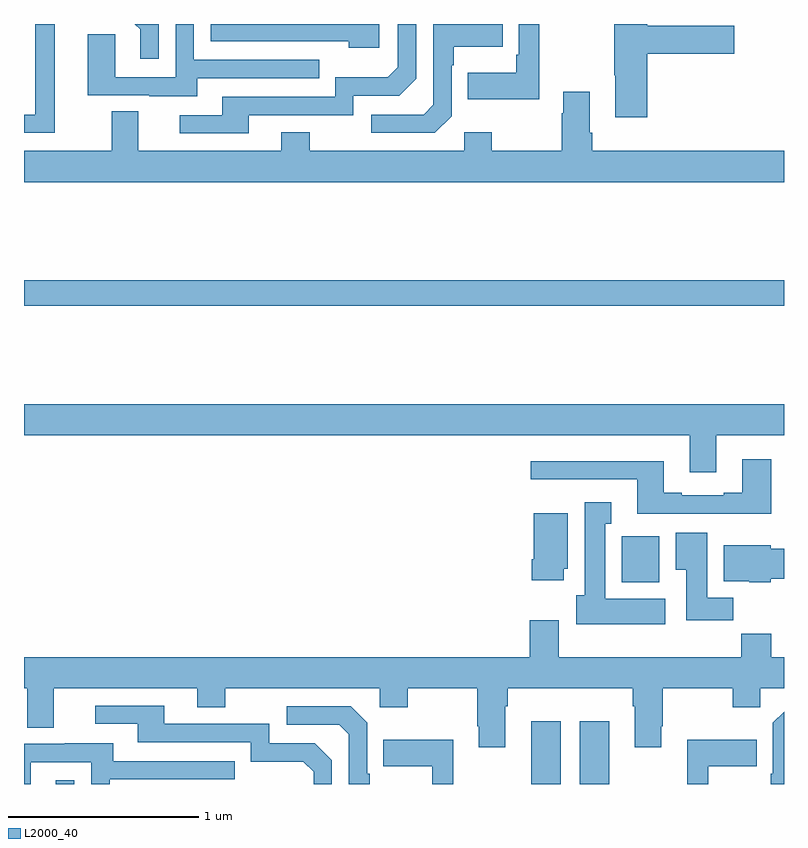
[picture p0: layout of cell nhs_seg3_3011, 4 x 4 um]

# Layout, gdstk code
import gdstk
lib = gdstk.Library(unit=1e-6, precision=1e-09)
def R(c, l, rs):  # rectangles x0, y0, x1, y1
    for r in rs: c.add(gdstk.rectangle(r[:2], r[2:], *l))
def P(c, l, *ps):  # polygons
    for p in ps: c.add(gdstk.Polygon(p, *l))
L2000_40 = (2000, 40)

nhs_seg3_3011 = lib.new_cell('nhs_seg3_3011')
R(nhs_seg3_3011, L2000_40, [(267.167,712.4,267.264,712.42), (269.669,712.4,269.824,712.729), (269.924,712.4,270.079,712.729), (270.146,713.462,270.343,713.704), (267,714.916,271,715.052)])
P(nhs_seg3_3011, L2000_40, [(267.708,716.4),(267.584,716.4),(267.611,716.373),(267.611,716.217),(267.708,716.217)],
  [(268.87,716.4),(267.984,716.4),(267.984,716.31),(268.709,716.31),(268.709,716.276),(268.87,716.276)],
  [(267.163,716.4),(267.059,716.4),(267.059,715.923),(267,715.923),(267,715.827),(267.163,715.827)],
  [(267.913,716.115),(268.553,716.115),(268.553,716.211),(267.894,716.211),(267.894,716.4),(267.798,716.4),(267.798,716.121),(267.48,716.121),(267.48,716.345),(267.335,716.345),(267.335,716.025),(267.659,716.025),(267.659,716.021),(267.913,716.021)],
  [(270.281,716.243),(270.739,716.243),(270.739,716.39),(270.281,716.39),(270.281,716.4),(270.106,716.4),(270.106,716.131),(270.113,716.131),(270.113,715.908),(270.281,715.908)],
  [(269.713,716.4),(269.604,716.4),(269.604,716.239),(269.592,716.239),(269.592,716.143),(269.335,716.143),(269.335,716.003),(269.713,716.003)],
  [(268.183,715.92),(268.734,715.92),(268.734,716.022),(268.974,716.022),(269.064,716.112),(269.064,716.4),(268.968,716.4),(268.968,716.172),(268.915,716.119),(268.638,716.119),(268.638,716.016),(268.043,716.016),(268.043,715.92),(267.819,715.92),(267.819,715.824),(268.183,715.824)],
  [(269.25,715.914),(269.25,716.183),(269.263,716.183),(269.263,716.279),(269.519,716.279),(269.519,716.4),(269.154,716.4),(269.154,715.974),(269.103,715.923),(268.827,715.923),(268.827,715.827),(269.163,715.827)],
  [(271,715.732),(269.99,715.732),(269.99,715.828),(269.977,715.828),(269.977,716.044),(269.837,716.044),(269.837,715.931),(269.83,715.931),(269.83,715.732),(269.463,715.732),(269.463,715.831),(269.316,715.831),(269.316,715.732),(268.503,715.732),(268.503,715.831),(268.355,715.831),(268.355,715.732),(267.601,715.732),(267.601,715.94),(267.461,715.94),(267.461,715.732),(267,715.732),(267,715.568),(271,715.568)],
  [(270.643,714.236),(271,714.236),(271,714.4),(267,714.4),(267,714.236),(270.503,714.236),(270.503,714.042),(270.643,714.042)],
  [(270.932,714.109),(270.779,714.109),(270.779,713.932),(270.683,713.932),(270.683,713.919),(270.463,713.919),(270.463,713.932),(270.367,713.932),(270.367,714.1),(269.667,714.1),(269.667,714.003),(270.227,714.003),(270.227,713.823),(270.691,713.823),(270.691,713.822),(270.932,713.822)],
  [(270.376,713.374),(270.058,713.374),(270.058,713.771),(270.091,713.771),(270.091,713.884),(269.951,713.884),(269.951,713.394),(269.906,713.394),(269.906,713.24),(270.376,713.24)],
  [(269.842,713.532),(269.863,713.532),(269.863,713.824),(269.684,713.824),(269.684,713.584),(269.672,713.584),(269.672,713.472),(269.842,713.472)],
  [(270.734,713.38),(270.595,713.38),(270.595,713.722),(270.431,713.722),(270.431,713.528),(270.485,713.528),(270.485,713.262),(270.734,713.262)],
  [(270.93,713.48),(271,713.48),(271,713.638),(270.93,713.638),(270.93,713.656),(270.683,713.656),(270.683,713.468),(270.816,713.468),(270.816,713.462),(270.93,713.462)],
  [(269.533,712.808),(269.546,712.808),(269.546,712.904),(270.203,712.904),(270.203,712.808),(270.215,712.808),(270.215,712.593),(270.355,712.593),(270.355,712.705),(270.363,712.705),(270.363,712.904),(270.73,712.904),(270.73,712.805),(270.876,712.805),(270.876,712.904),(271,712.904),(271,713.068),(270.932,713.068),(270.932,713.192),(270.775,713.192),(270.775,713.068),(269.815,713.068),(269.815,713.263),(269.663,713.263),(269.663,713.068),(267,713.068),(267,712.904),(267.017,712.904),(267.017,712.696),(267.157,712.696),(267.157,712.904),(267.911,712.904),(267.911,712.805),(268.059,712.805),(268.059,712.904),(268.872,712.904),(268.872,712.805),(269.019,712.805),(269.019,712.904),(269.386,712.904),(269.386,712.705),(269.393,712.705),(269.393,712.593),(269.533,712.593)],
  [(268.62,712.524),(268.53,712.614),(268.29,712.614),(268.29,712.716),(267.739,712.716),(267.739,712.812),(267.375,712.812),(267.375,712.716),(267.599,712.716),(267.599,712.62),(268.194,712.62),(268.194,712.517),(268.471,712.517),(268.524,712.464),(268.524,712.4),(268.62,712.4)],
  [(268.819,712.453),(268.806,712.453),(268.806,712.722),(268.719,712.809),(268.383,712.809),(268.383,712.713),(268.659,712.713),(268.71,712.662),(268.71,712.4),(268.819,712.4)],
  [(271,712.78),(270.942,712.722),(270.942,712.453),(270.93,712.453),(270.93,712.4),(271,712.4)],
  [(270.601,712.493),(270.857,712.493),(270.857,712.633),(270.491,712.633),(270.491,712.4),(270.601,712.4)],
  [(269.258,712.633),(268.891,712.633),(268.891,712.493),(269.148,712.493),(269.148,712.4),(269.258,712.4)],
  [(267.036,712.515),(267.354,712.515),(267.354,712.4),(267.45,712.4),(267.45,712.425),(268.109,712.425),(268.109,712.521),(267.469,712.521),(267.469,712.615),(267.215,712.615),(267.215,712.611),(267,712.611),(267,712.4),(267.036,712.4)])

lib.write_gds('nhs_seg3_3011.gds')
